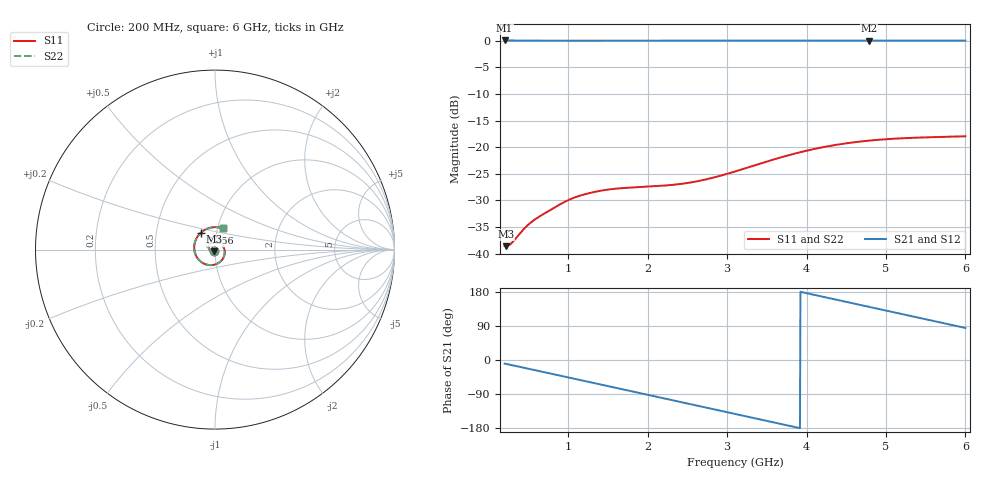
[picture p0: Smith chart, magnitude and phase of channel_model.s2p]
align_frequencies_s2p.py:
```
import numpy as np

# --- НАСТРОЙКИ ---
input_file = "channel_model.s2p"   # Имя вашего исходного s2p файла
output_file = "AAA.s2p" # Имя исправленного файла для PyBERT

print("Чтение исходного файла .s2p...")
frequencies = []
s_data = []

# Читаем файл, игнорируя комментарии и строку параметров
with open(input_file, 'r') as f:
    for line in f:
        line = line.strip()
        if not line or line.startswith('!') or line.startswith('#'):
            continue
        parts = list(map(float, line.split()))
        # В файле s2p в строке должно быть 1 число частоты + 4 числа для S11 и S21 
        # (либо 9 чисел, если S11, S21, S12, S22 записаны в одну строку)
        if len(parts) >= 5: 
            frequencies.append(parts[0])
            s_data.append(parts[1:9] if len(parts) == 9 else parts[1:5])

freq_old = np.array(frequencies)
data_old = np.array(s_data)

# Проверяем, сколько параметров в строке. Если s2p записан в сокращенном виде (только S11 и S21), 
# дублируем их для симметричного канала (S12=S21, S22=S11), так как PyBERT требует полную матрицу.
if data_old.shape[1] == 4:
    print("Обнаружено 2 параметра (S11, S21). Достраиваем до полной матрицы (S12, S22)...")
    full_data = np.zeros((data_old.shape[0], 8))
    full_data[:, 0:2] = data_old[:, 0:2] # S11
    full_data[:, 2:4] = data_old[:, 2:4] # S21
    full_data[:, 4:6] = data_old[:, 2:4] # S12 = S21
    full_data[:, 6:8] = data_old[:, 0:2] # S22 = S11
    data_old = full_data

# Переводим Magnitude/Angle (MA) в Real/Imaginary (RI) для точной интерполяции
data_ri = np.zeros_like(data_old)
for i in range(4): # 4 параметра: S11, S21, S12, S22
    mag = data_old[:, i*2]
    ang_rad = np.radians(data_old[:, i*2 + 1])
    real = mag * np.cos(ang_rad)
    imag = mag * np.sin(ang_rad)
    data_ri[:, i*2] = real
    data_ri[:, i*2 + 1] = imag

# Строим ИДЕАЛЬНО ЛИНЕЙНУЮ сетку частот от 0 ГГц (DC) до 10 ГГц с шагом 5 МГц
freq_new = np.arange(0.0, 10.005, 0.005) 
data_new_ri = np.zeros((len(freq_new), 8))

print("Интерполяция и выравнивание сетки...")
for i in range(8):
    # На краях диапазона (DC и выше 6 ГГц) используем крайние известные точки (left/right)
    data_new_ri[:, i] = np.interp(freq_new, freq_old, data_ri[:, i], left=data_ri[0, i], right=data_ri[-1, i])

# Переводим обратно в формат MA (Magnitude/Angle)
data_new_ma = np.zeros_like(data_new_ri)
for i in range(4):
    real = data_new_ri[:, i*2]
    imag = data_new_ri[:, i*2 + 1]
    mag = np.sqrt(real**2 + imag**2)
    ang = np.degrees(np.arctan2(imag, real))
    data_new_ma[:, i*2] = mag
    data_new_ma[:, i*2 + 1] = ang

print(f"Запись исправленного файла: {output_file}...")
with open(output_file, 'w') as f:
    f.write("! Fixed Touchstone file for PyBERT\n")
    f.write("! Linear frequency sweep from 0 to 10 GHz with 5 MHz step\n")
    f.write("# GHz S MA R 50.0\n")
    for f_val, d_row in zip(freq_new, data_new_ma):
        # Для файлов .s2p стандарт Touchstone требует запись всех 4 параметров в одну строку 
        # (Частота S11_mag S11_ang S21_mag S21_ang S12_mag S12_ang S22_mag S22_ang)
        data_str = " ".join([f"{x:e}" for x in d_row])
        f.write(f"{f_val:e} {data_str}\n")

print("Готово! Файл .s2p успешно адаптирован для PyBERT.")
```
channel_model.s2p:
! Touchstone file converted from gerber2ems Port_0_data.csv
! Assumption: Channel is reciprocal and symmetric (S11=S22, S21=S12)
# GHz S MA R 50.0
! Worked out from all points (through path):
!   1001 points, 200 MHz to 6 GHz, reference 50 ohm
!   highest |S21| = 0.04 dB at 200 MHz (marker M1); lowest = 0.0 dB at 4.788 GHz (marker M2)
!   group delay of S21, straight-line fit = 127 ps
!   lowest |S11| = -38.6 dB at 217.4 MHz (marker M3), VSWR 1.02, Z = 49.3 - j0.947 ohm
!   |S11| at or under -10 dB: start of sweep to end of sweep
!   |S22| runs from -38.6 to -17.9 dB; largest |S21 - S12| = 0
!   S11 on the Smith chart (normalised r, x): 200 MHz: 0.99, -0.02; 5.356 GHz: 0.84, +0.16; 6 GHz: 1.06, +0.26
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0.2  0.01183 -124.1  1.005 -9.5  1.005 -9.5  0.01183 -124.1
0.2174  0.01176 -125.3  1.005 -10.3  1.005 -10.3  0.01176 -125.3
0.9772  0.03121 -179.4  1.001 -44.8  1.001 -44.8  0.03121 -179.4
1.7312  0.04152 122.6  1 -79.4  1 -79.4  0.04152 122.6
2.3924  0.04492 54.3  1.001 -109.8  1.001 -109.8  0.04492 54.3
3.1  0.05911 -25.6  1.001 -142.3  1.001 -142.3  0.05911 -25.6
3.5292  0.07441 -69.0  1.001 -162.0  1.001 -162.0  0.07441 -69.0
3.941  0.09045 -106.5  1 179.1  1 179.1  0.09045 -106.5
4.7878  0.1153 -179.2  0.9998 140.2  0.9998 140.2  0.1153 -179.2
5.3562  0.1226 130.4  1 114.2  1 114.2  0.1226 130.4
6  0.1266 69.0  1.002 84.6  1.002 84.6  0.1266 69.0
